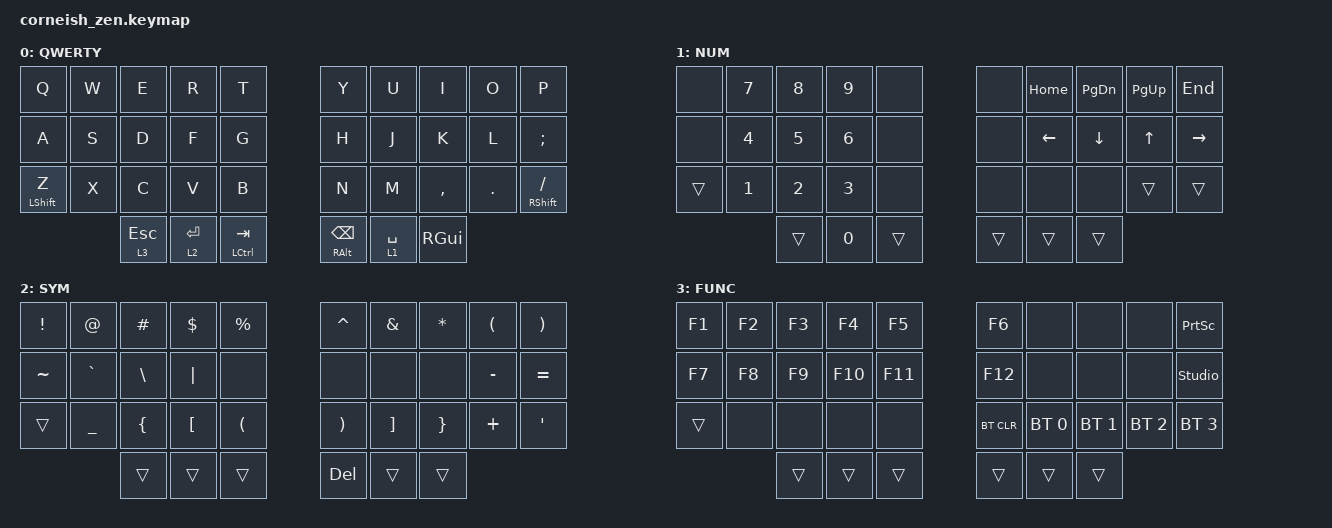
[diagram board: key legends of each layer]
#include <behaviors.dtsi>
#include <dt-bindings/zmk/keys.h>
#include <dt-bindings/zmk/bt.h>

/ {
    chosen {
        //zmk,physical-layout = &foostan_corne_6col_layout;
        zmk,physical-layout = &foostan_corne_5col_layout;
    };
};

/ {
    keymap {
        compatible = "zmk,keymap";

        default_layer {
            display-name = "QWERTY";
// --------------------------------------------------------------------------------
// |  TAB |  Q  |  W  |  E  |  R  |  T  |   |  Y  |  U   |  I  |  O  |  P  | BSPC |
// | CTRL |  A  |  S  |  D  |  F  |  G  |   |  H  |  J   |  K  |  L  |  ;  |  '   |
// | SHFT |  Z  |  X  |  C  |  V  |  B  |   |  N  |  M   |  ,  |  .  |  /  | ESC  |
//                    | GUI | LWR | SPC |   | ENT | RSE  | ALT |
            bindings = <
 &kp Q &kp W &kp E &kp R &kp T   &kp Y &kp U  &kp I     &kp O   &kp P    
 &kp A &kp S &kp D &kp F &kp G   &kp H &kp J  &kp K     &kp L   &kp SEMI 
 &mt LSHFT Z &kp X &kp C &kp V &kp B   &kp N &kp M  &kp COMMA &kp DOT &mt RSHFT FSLH 
               &lt 3 ESC &lt 2 RET &mt LCTRL TAB   &mt RALT BSPC &lt 1 SPACE &kp RGUI
            >;
        };

        num_layer {
            display-name = "NUM";
// -----------------------------------------------------------------------------------------
// |  TAB |  1  |  2  |  3  |  4  |  5  |   |  6  |  7  |  8  |  9  |  0  | BSPC |
// | BTCLR| BT1 | BT2 | BT3 | BT4 | BT5 |   | LFT | DWN |  UP | RGT |     |Studio|
// | SHFT |     |     |     |     |     |   |     |     |     |     |     |      |
//                    | GUI |     | SPC |   | ENT |     | ALT |
            bindings = <
&none        &kp N7       &kp N8     &kp N9       &none     &none    &kp HOME     &kp PG_DN    &kp PG_UP  &kp END 
&none        &kp N4       &kp N5     &kp N6       &none     &none    &kp LEFT     &kp DOWN     &kp UP     &kp RIGHT 
&trans       &kp N1       &kp N2     &kp N3       &none     &none    &none       &none       &trans       &trans
                &trans     &kp N0       &trans      &trans  &trans   &trans
            >;
        };

        sym_layer {
            display-name = "SYM";
// -----------------------------------------------------------------------------------------
// |  TAB |  !  |  @  |  #  |  $  |  %  |   |  ^  |  &  |  *  |  (  |  )  | BSPC |
// | CTRL |     |     |     |     |     |   |  -  |  =  |  [  |  ]  |  \  |  `   |
// | SHFT |     |     |     |     |     |   |  _  |  +  |  {  |  }  | "|" |  ~   |
//                    | GUI |     | SPC |   | ENT |     | ALT |
            bindings = <
&kp EXCL     &kp AT     &kp HASH     &kp DLLR   &kp PRCNT   &kp CARET    &kp AMPS  &kp ASTRK  &kp LPAR  &kp RPAR
&kp TILDE    &kp GRAVE  &kp BSLH     &kp PIPE   &none       &none        &none     &none     &kp MINUS  &kp EQUAL
&trans       &kp UNDER  &kp LBRC     &kp LBKT   &kp LPAR    &kp RPAR     &kp RBKT  &kp RBRC  &kp PLUS  &kp APOS
                          &trans  &trans   &trans   &kp DEL   &trans    &trans
            >;
        };

        func_layer {
            display-name = "FUNC";
// -----------------------------------------------------------------------------------------
// |  TAB |  !  |  @  |  #  |  $  |  %  |   |  ^  |  &  |  *  |  (  |  )  | BSPC |
// | CTRL |     |     |     |     |     |   |  -  |  =  |  [  |  ]  |  \  |  `   |
// | SHFT |     |     |     |     |     |   |  _  |  +  |  {  |  }  | "|" |  ~   |
//                    | GUI |     | SPC |   | ENT |     | ALT |
            bindings = <
&kp F1     &kp F2    &kp F3  &kp F4  &kp F5    &kp F6      &none        &none        &none         &kp PSCRN
&kp F7     &kp F8    &kp F9  &kp F10 &kp F11   &kp F12     &none        &none        &none         &studio_unlock
&trans     &none     &none   &none   &none     &bt BT_CLR  &bt BT_SEL 0 &bt BT_SEL 1 &bt BT_SEL 2  &bt BT_SEL 3
                          &trans &trans   &trans   &trans   &trans    &trans
            >;
        };
    };
};
